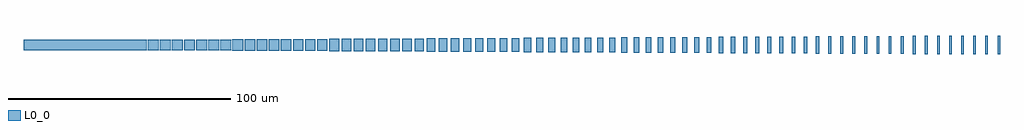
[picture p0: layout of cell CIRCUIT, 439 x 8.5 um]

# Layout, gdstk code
import gdstk
lib = gdstk.Library(unit=1e-6, precision=1e-09)
def R(c, l, rs):  # rectangles x0, y0, x1, y1
    for r in rs: c.add(gdstk.rectangle(r[:2], r[2:], *l))
L0_0 = (0, 0)

circuit = lib.new_cell('CIRCUIT')
R(circuit, L0_0, [(437.882,195.75,438.999,204.25), (432.449,195.778,433.567,204.222), (427.013,195.806,428.138,204.194), (421.576,195.835,422.71,204.165), (416.136,195.863,417.283,204.137), (410.695,195.891,411.859,204.109), (405.252,195.919,406.437,204.081), (399.807,195.947,401.016,204.053), (394.361,195.975,395.597,204.025), (388.912,196.004,390.18,203.996), (383.462,196.032,384.764,203.968), (378.011,196.06,379.351,203.94), (372.557,196.088,373.939,203.912), (367.102,196.116,368.528,203.884), (361.645,196.144,363.119,203.856), (356.187,196.173,357.712,203.827), (350.728,196.201,352.306,203.799), (345.266,196.229,346.902,203.771), (339.804,196.257,341.499,203.743), (334.34,196.285,336.097,203.715), (328.875,196.313,330.697,203.687), (323.409,196.342,325.298,203.658), (317.942,196.37,319.899,203.63), (312.473,196.398,314.502,203.602), (307.004,196.426,309.106,203.574), (301.534,196.454,303.711,203.546), (296.062,196.482,298.317,203.518), (290.59,196.511,292.923,203.489), (285.118,196.539,287.53,203.461), (279.645,196.567,282.138,203.433), (274.171,196.595,276.746,203.405), (268.697,196.623,271.355,203.377), (263.222,196.651,265.964,203.349), (257.747,196.68,260.574,203.32), (252.272,196.708,255.183,203.292), (246.797,196.736,249.793,203.264), (241.322,196.764,244.403,203.236), (235.846,196.792,239.013,203.208), (230.371,196.82,233.622,203.18), (224.896,196.849,228.232,203.151), (219.422,196.877,222.841,203.123), (213.948,196.905,217.449,203.095), (208.474,196.933,212.058,203.067), (203.001,196.961,206.665,203.039), (197.528,196.989,201.273,203.011), (192.056,197.018,195.879,202.982), (186.585,197.046,190.485,202.954), (181.115,197.074,185.09,202.926), (175.645,197.102,179.693,202.898), (170.177,197.13,174.296,202.87), (164.71,197.158,168.898,202.842), (159.243,197.187,163.499,202.813), (153.778,197.215,158.099,202.785), (148.314,197.243,152.697,202.757), (142.852,197.271,147.294,202.729), (137.391,197.299,141.889,202.701), (131.931,197.327,136.484,202.673), (126.473,197.356,131.076,202.644), (121.016,197.384,125.667,202.616), (115.561,197.412,120.257,202.588), (110.108,197.44,114.845,202.56), (104.656,197.468,109.431,202.532), (99.206,197.496,104.016,202.504), (93.758,197.525,98.599,202.475), (88.311,197.553,93.18,202.447), (82.866,197.581,87.759,202.419), (77.423,197.609,82.337,202.391), (71.982,197.637,76.912,202.363), (66.543,197.665,71.486,202.335), (61.105,197.694,66.058,202.306), (55.67,197.722,60.628,202.278), (0,197.75,50,202.25), (50.236,197.75,55.197,202.25)])

lib.write_gds('CIRCUIT.gds')
